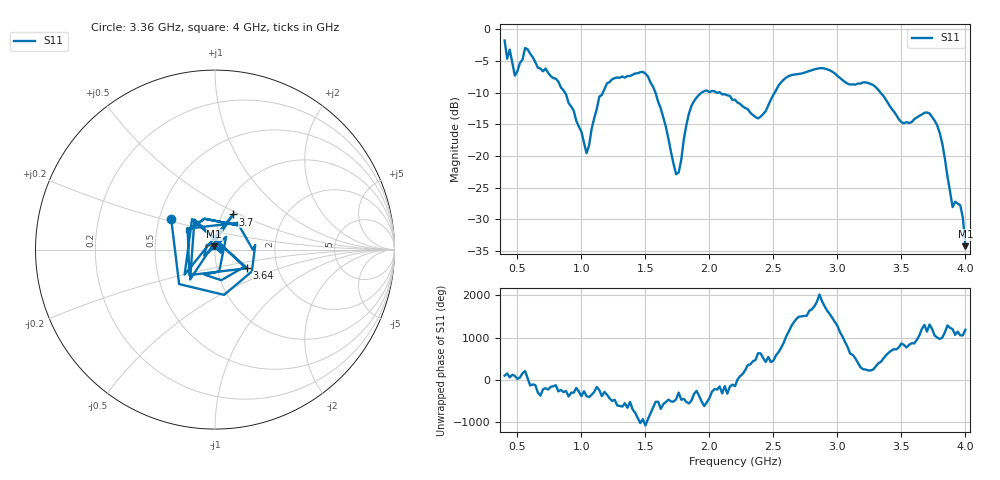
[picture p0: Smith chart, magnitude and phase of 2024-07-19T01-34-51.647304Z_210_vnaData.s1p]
!Created with skrf (http://scikit-rf.org).
# Hz S RI R 50.0
!freq ReS11 ImS11
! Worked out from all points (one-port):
!   181 points, 400 MHz to 4 GHz, reference 50 ohm
!   lowest |S11| = -34.3 dB at 4 GHz (marker M1), VSWR 1.04, Z = 49.5 + j1.85 ohm
!   |S11| at or under -10 dB: 1.579 GHz to 1.938 GHz (359.6 MHz wide, 20.5 % of centre); 2.085 GHz to 2.51 GHz (424.7 MHz wide, 18.5 % of centre); 3.337 GHz to end of sweep (the widest 3 of 5)
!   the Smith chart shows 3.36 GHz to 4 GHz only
!   S11 on the Smith chart (normalised r, x): 3.36 GHz: 0.58, +0.22; 3.64 GHz: 1.40, -0.30; 3.7 GHz: 1.12, +0.46; 4 GHz: 0.99, +0.04
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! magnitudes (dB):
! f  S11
! 400 MHz  -1.7
! 420 MHz  -4.6
! 440 MHz  -3.2
! 480 MHz  -7.3
! 560 MHz  -2.9
! 860 MHz  -9.6
! 1.04 GHz  -19.6
! 1.14 GHz  -10.6
! 1.3 GHz  -7.6
! 1.52 GHz  -7.4
! 1.62 GHz  -12.5
! 1.74 GHz  -22.9
! 1.76 GHz  -22.6
! 1.84 GHz  -13.3
! 1.9 GHz  -10.8
! 2.2 GHz  -11.1
! 2.38 GHz  -14.1
! 2.66 GHz  -7.1
! 2.9 GHz  -6.2
! 3.1 GHz  -8.7
! 3.36 GHz  -10.5
! 3.56 GHz  -14.8
! 3.64 GHz  -13.7
! 3.7 GHz  -13.1
! 3.8 GHz  -16.4
! 3.9 GHz  -28.1
! 3.96 GHz  -27.8
! 4 GHz  -34.3
